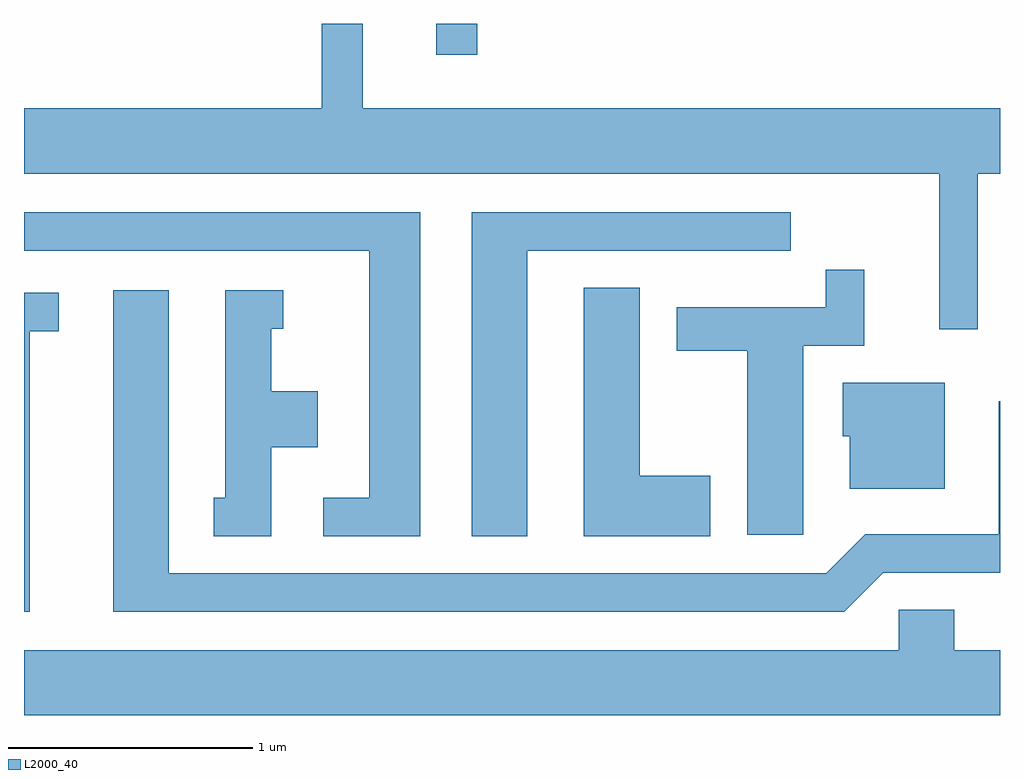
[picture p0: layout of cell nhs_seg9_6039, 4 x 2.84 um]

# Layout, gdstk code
import gdstk
lib = gdstk.Library(unit=1e-6, precision=1e-09)
def R(c, l, rs):  # rectangles x0, y0, x1, y1
    for r in rs: c.add(gdstk.rectangle(r[:2], r[2:], *l))
def P(c, l, *ps):  # polygons
    for p in ps: c.add(gdstk.Polygon(p, *l))
L2000_40 = (2000, 40)

nhs_seg9_6039 = lib.new_cell('nhs_seg9_6039')
R(nhs_seg9_6039, L2000_40, [(365.301,1992.303,365.469,1992.432)])
P(nhs_seg9_6039, L2000_40, [(367.519,1991.816),(367.611,1991.816),(367.611,1992.084),(364.999,1992.084),(364.999,1992.432),(364.831,1992.432),(364.831,1992.084),(363.611,1992.084),(363.611,1991.816),(367.361,1991.816),(367.361,1991.178),(367.519,1991.178)],
  [(365.674,1991.501),(366.753,1991.501),(366.753,1991.659),(365.446,1991.659),(365.446,1990.331),(365.674,1990.331)],
  [(365.234,1991.659),(363.611,1991.659),(363.611,1991.501),(365.026,1991.501),(365.026,1990.489),(364.838,1990.489),(364.838,1990.331),(365.234,1990.331)],
  [(366.804,1991.111),(367.054,1991.111),(367.054,1991.423),(366.896,1991.423),(366.896,1991.269),(366.286,1991.269),(366.286,1991.091),(366.576,1991.091),(366.576,1990.336),(366.804,1990.336)],
  [(366.424,1990.579),(366.134,1990.579),(366.134,1991.349),(365.906,1991.349),(365.906,1990.331),(366.424,1990.331)],
  [(367.132,1990.181),(367.611,1990.181),(367.611,1990.883),(367.606,1990.883),(367.606,1990.339),(367.059,1990.339),(366.899,1990.179),(364.204,1990.179),(364.204,1991.339),(363.976,1991.339),(363.976,1990.021),(366.972,1990.021)],
  [(364.624,1990.696),(364.814,1990.696),(364.814,1990.924),(364.624,1990.924),(364.624,1991.181),(364.673,1991.181),(364.673,1991.339),(364.436,1991.339),(364.436,1990.489),(364.388,1990.489),(364.388,1990.331),(364.624,1990.331)],
  [(363.634,1991.171),(363.753,1991.171),(363.753,1991.329),(363.611,1991.329),(363.611,1990.021),(363.634,1990.021)],
  [(367.384,1990.959),(366.966,1990.959),(366.966,1990.741),(366.996,1990.741),(366.996,1990.526),(367.384,1990.526)],
  [(367.611,1989.864),(367.424,1989.864),(367.424,1990.029),(367.196,1990.029),(367.196,1989.864),(363.611,1989.864),(363.611,1989.596),(367.611,1989.596)])

lib.write_gds('nhs_seg9_6039.gds')
